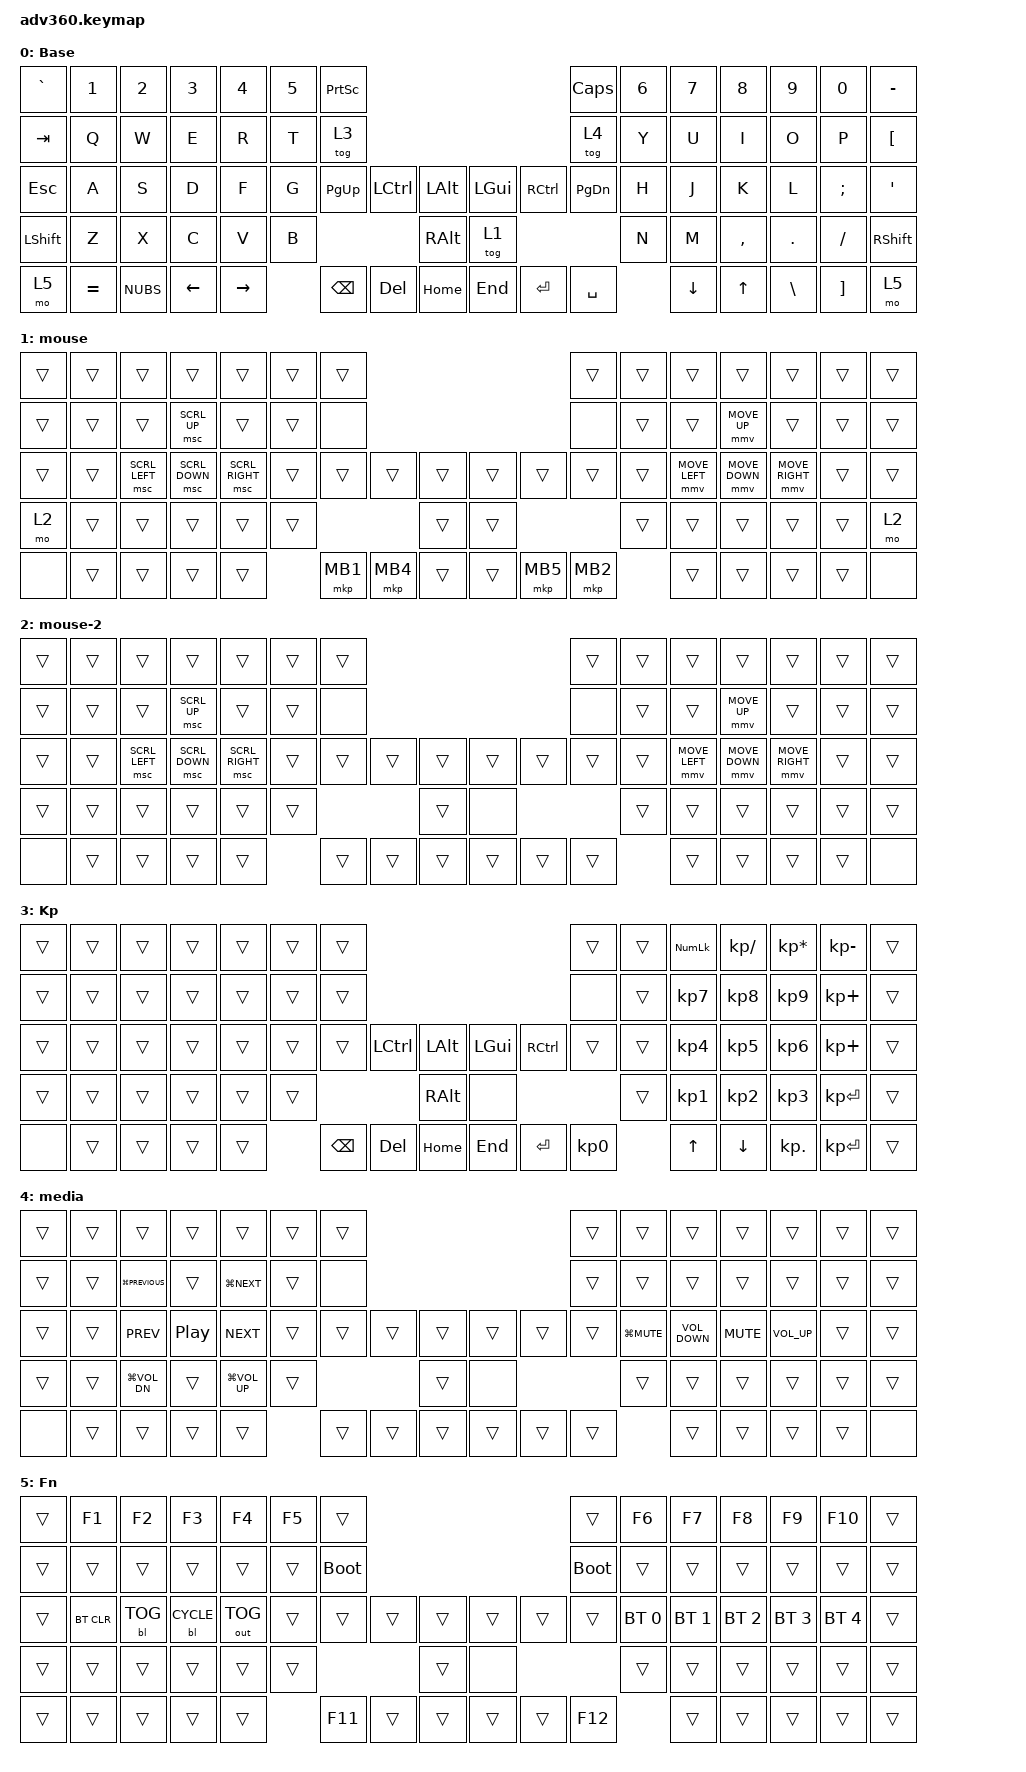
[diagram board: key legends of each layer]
#include <dt-bindings/zmk/stp.h>
#include <behaviors.dtsi>
#include <dt-bindings/zmk/backlight.h>
#include <dt-bindings/zmk/bt.h>
#include <dt-bindings/zmk/keys.h>
#include <dt-bindings/zmk/outputs.h>
#include <dt-bindings/zmk/pointing.h>
#include <input/processors.dtsi>
#include <zephyr/dt-bindings/input/input-event-codes.h>

/ {
    // Scaler fuer Scrollen (in dieser Firmware-Version nicht vordefiniert)
    zip_scroll_scaler: zip_scroll_scaler {
        compatible = "zmk,input-processor-scaler";
        #input-processor-cells = <2>;
        type = <INPUT_EV_REL>;
        codes = <INPUT_REL_WHEEL INPUT_REL_HWHEEL>;
        track-remainders;
    };

    behaviors {
        #include "macros.dtsi"
      #include "version.dtsi"

        hm: homerow_mods {
            compatible = "zmk,behavior-hold-tap";
            label = "HOMEROW_MODS";
            #binding-cells = <2>;
            tapping-term-ms = <200>;
            quick_tap_ms = <175>;
            flavor = "tap-preferred";
            bindings = <&kp>, <&kp>;
        };
    };

    combos {
        compatible = "zmk,combos";

        layer-2-mouse_middle_mb {
            bindings = <&mkp MB3>;
            key-positions = <65 70>;
            layers = <1 2>;
        };
    };

    keymap {
        compatible = "zmk,keymap";

        default_layer {
            display-name = "Base";
            bindings = <
&kp GRAVE  &kp N1     &kp N2    &kp N3    &kp N4     &kp N5  &kp PRINTSCREEN                                                     &kp CAPSLOCK   &kp N6  &kp N7          &kp N8        &kp N9         &kp N0             &kp MINUS
&kp TAB    &kp Q      &kp W     &kp E     &kp R      &kp T   &tog 3                                                              &tog 4         &kp Y   &kp U           &kp I         &kp O          &kp P              &kp LEFT_BRACKET
&kp ESC    &kp A      &kp S     &kp D     &kp F      &kp G   &kp PG_UP        &kp LCTRL  &kp LEFT_ALT       &kp LGUI  &kp RCTRL  &kp PAGE_DOWN  &kp H   &kp J           &kp K         &kp L          &kp SEMI           &kp SQT
&kp LSHFT  &kp Z      &kp X     &kp C     &kp V      &kp B                               &kp RIGHT_ALT      &tog 1                              &kp N   &kp M           &kp COMMA     &kp DOT        &kp FSLH           &kp RSHFT
&mo 5      &kp EQUAL  &kp NUBS  &kp LEFT  &kp RIGHT          &kp BSPC         &kp DEL    &kp HOME           &kp END   &kp ENTER  &kp SPACE              &kp DOWN_ARROW  &kp UP_ARROW  &kp BACKSLASH  &kp RIGHT_BRACKET  &mo 5
            >;
        };

        mouse {
            bindings = <
&trans  &trans  &trans          &trans          &trans           &trans  &trans                                            &trans    &trans  &trans          &trans          &trans           &trans  &trans
&trans  &trans  &trans          &msc SCRL_UP    &trans           &trans  &none                                             &none     &trans  &trans          &mmv MOVE_UP    &trans           &trans  &trans
&trans  &trans  &msc SCRL_LEFT  &msc SCRL_DOWN  &msc SCRL_RIGHT  &trans  &trans    &trans    &trans      &trans  &trans    &trans    &trans  &mmv MOVE_LEFT  &mmv MOVE_DOWN  &mmv MOVE_RIGHT  &trans  &trans
&mo 2   &trans  &trans          &trans          &trans           &trans                      &trans      &trans                      &trans  &trans          &trans          &trans           &trans  &mo 2
&none   &trans  &trans          &trans          &trans                   &mkp MB1  &mkp MB4  &trans      &trans  &mkp MB5  &mkp MB2          &trans          &trans          &trans           &trans  &none
            >;
        };

        mouse-2 {
            bindings = <
&trans  &trans  &trans          &trans          &trans           &trans  &trans                                      &trans  &trans  &trans          &trans          &trans           &trans  &trans
&trans  &trans  &trans          &msc SCRL_UP    &trans           &trans  &none                                       &none   &trans  &trans          &mmv MOVE_UP    &trans           &trans  &trans
&trans  &trans  &msc SCRL_LEFT  &msc SCRL_DOWN  &msc SCRL_RIGHT  &trans  &trans  &trans  &trans      &trans  &trans  &trans  &trans  &mmv MOVE_LEFT  &mmv MOVE_DOWN  &mmv MOVE_RIGHT  &trans  &trans
&trans  &trans  &trans          &trans          &trans           &trans                  &trans      &none                   &trans  &trans          &trans          &trans           &trans  &trans
&none   &trans  &trans          &trans          &trans                   &trans  &trans  &trans      &trans  &trans  &trans          &trans          &trans          &trans           &trans  &none
            >;
        };

        keypad {
            display-name = "Kp";
            bindings = <
&trans  &trans  &trans  &trans  &trans  &trans  &trans                                                  &trans     &trans  &kp KP_NUM    &kp KP_DIVIDE  &kp KP_MULTIPLY  &kp KP_MINUS  &trans
&trans  &trans  &trans  &trans  &trans  &trans  &trans                                                  &none      &trans  &kp KP_N7     &kp KP_N8      &kp KP_N9        &kp KP_PLUS   &trans
&trans  &trans  &trans  &trans  &trans  &trans  &trans    &kp LCTRL  &kp LALT      &kp LGUI  &kp RCTRL  &trans     &trans  &kp KP_N4     &kp KP_N5      &kp KP_N6        &kp KP_PLUS   &trans
&trans  &trans  &trans  &trans  &trans  &trans                       &kp RALT      &none                           &trans  &kp KP_N1     &kp KP_N2      &kp KP_N3        &kp KP_ENTER  &trans
&none   &trans  &trans  &trans  &trans          &kp BSPC  &kp DEL    &kp HOME      &kp END   &kp ENTER  &kp KP_N0          &kp UP_ARROW  &kp DOWN       &kp KP_DOT       &kp KP_ENTER  &trans
            >;
        };

        media {
            bindings = <
&trans  &trans  &trans              &trans            &trans               &trans  &trans                                      &trans  &trans          &trans             &trans      &trans           &trans  &trans
&trans  &trans  &kp LG(C_PREVIOUS)  &trans            &kp LG(C_NEXT)       &trans  &none                                       &trans  &trans          &trans             &trans      &trans           &trans  &trans
&trans  &trans  &kp C_PREV          &kp C_PLAY_PAUSE  &kp C_NEXT           &trans  &trans  &trans  &trans      &trans  &trans  &trans  &kp LG(C_MUTE)  &kp C_VOLUME_DOWN  &kp C_MUTE  &kp C_VOLUME_UP  &trans  &trans
&trans  &trans  &kp LG(C_VOL_DN)    &trans            &kp LG(C_VOLUME_UP)  &trans                  &trans      &none                   &trans          &trans             &trans      &trans           &trans  &trans
&none   &trans  &trans              &trans            &trans                       &trans  &trans  &trans      &trans  &trans  &trans                  &trans             &trans      &trans           &trans  &none
            >;
        };

        fn {
            display-name = "Fn";
            bindings = <
&trans  &kp F1      &kp F2      &kp F3        &kp F4        &kp F5  &trans                                           &trans       &kp F6        &kp F7        &kp F8        &kp F9        &kp F10       &trans
&trans  &trans      &trans      &trans        &trans        &trans  &bootloader                                      &bootloader  &trans        &trans        &trans        &trans        &trans        &trans
&trans  &bt BT_CLR  &bl BL_TOG  &bl BL_CYCLE  &out OUT_TOG  &trans  &trans       &trans  &trans      &trans  &trans  &trans       &bt BT_SEL 0  &bt BT_SEL 1  &bt BT_SEL 2  &bt BT_SEL 3  &bt BT_SEL 4  &trans
&trans  &trans      &trans      &trans        &trans        &trans                       &trans      &none                        &trans        &trans        &trans        &trans        &trans        &trans
&trans  &trans      &trans      &trans        &trans                &kp F11      &trans  &trans      &trans  &trans  &kp F12                    &trans        &trans        &trans        &trans        &trans
            >;
        };
    };
};

// Doppelte Geschwindigkeit, solange Layer 2 (mouse-2) aktiv ist, also Shift gehalten wird
&mmv_input_listener {
    fast_move {
        layers = <2>;
        input-processors = <&zip_xy_scaler 2 1>;
    };
};

&msc_input_listener {
    fast_scroll {
        layers = <2>;
        input-processors = <&zip_scroll_scaler 2 1>;
    };
};
